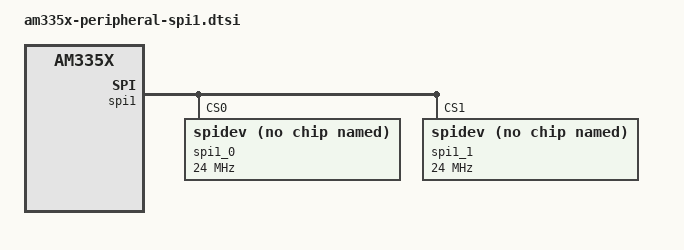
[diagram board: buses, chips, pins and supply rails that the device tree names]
/*
 * Copyright (C) 2015 Mirko Denecke <mirkix@gmail.com>
 *
 * This program is free software; you can redistribute it and/or modify
 * it under the terms of the GNU General Public License version 2 as
 * published by the Free Software Foundation.
 */

&spi1 {
	pinctrl-names = "default";

	status = "okay";
            
	spi1_0 {
		#address-cells = <1>;
		#size-cells = <0>;
		reg = <0>;
		spi-max-frequency = <24000000>;
		compatible = "spidev";
	};

	spi1_1 {
		#address-cells = <1>;
		#size-cells = <0>;
		reg = <1>;
		spi-max-frequency = <24000000>;
		compatible = "spidev";
	};
};
